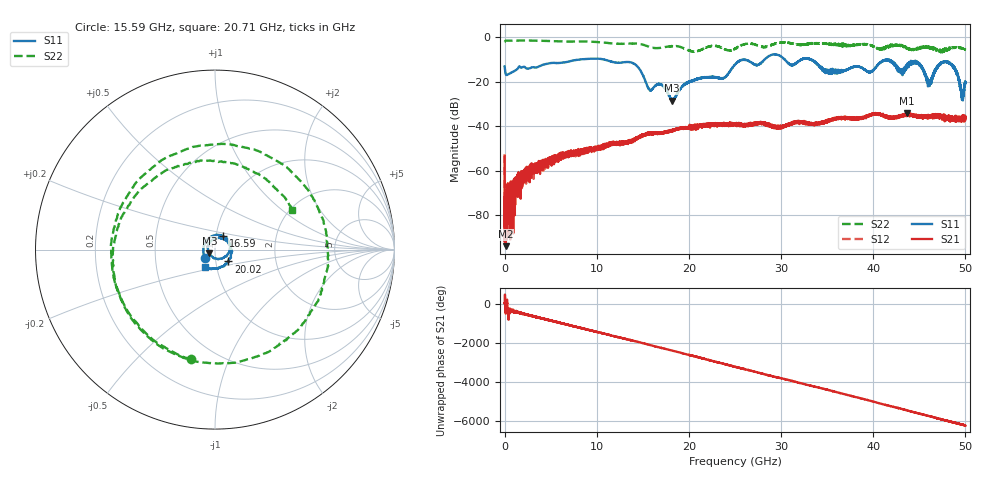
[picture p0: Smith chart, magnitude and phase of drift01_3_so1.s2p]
!Created with skrf (http://scikit-rf.org).
# Hz S RI R 50.0
!freq ReS11 ImS11 ReS21 ImS21 ReS12 ImS12 ReS22 ImS22
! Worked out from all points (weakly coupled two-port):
!   10001 points, 300 kHz to 50 GHz, reference 50 ohm
!   highest |S21| = -34.12 dB at 43.65 GHz (marker M1); lowest = -94.1 dB at 120.3 MHz (marker M2)
!   lowest |S11| = -28.5 dB at 18.16 GHz (marker M3), VSWR 1.08, Z = 46.9 - j2 ohm
!   |S11| at or under -10 dB: 10.87 GHz to 25.83 GHz (14.97 GHz wide, 81.6 % of centre); 33.27 GHz to 41.42 GHz (8.149 GHz wide, 21.8 % of centre); 41.6 GHz to end of sweep (the widest 3 of 14)
!   |S22| runs from -6.7 to -1.4 dB; largest |S21 - S12| = 0.0039
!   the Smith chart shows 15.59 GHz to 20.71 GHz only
!   S11 on the Smith chart (normalised r, x): 15.59 GHz: 0.89, -0.09; 16.59 GHz: 1.08, +0.16; 20.02 GHz: 1.15, -0.15; 20.71 GHz: 0.87, -0.17
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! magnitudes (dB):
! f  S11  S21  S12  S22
! 300 kHz  -13.1  -53.7  -52.7  -2.1
! 120.3 MHz  -16.6  -94.1  -72.8  -1.5
! 260.3 MHz  -16.9  -78.6  -70.1  -1.4
! 2.61 GHz  -14.0  -61.2  -59.9  -1.4
! 8.335 GHz  -9.9  -52.0  -51.7  -1.8
! 13.88 GHz  -11.5  -46.5  -46.7  -2.7
! 15.59 GHz  -22.9  -43.5  -43.3  -4.1
! 16.59 GHz  -21.2  -42.8  -43.2  -4.8
! 16.67 GHz  -21.0  -43.4  -43.3  -4.8
! 18.16 GHz  -28.5  -42.2  -42.0  -3.9
! 20.02 GHz  -20.1  -39.8  -40.4  -5.9
! 20.71 GHz  -18.8  -40.4  -40.9  -6.3
! 25 GHz  -12.2  -39.4  -39.4  -5.1
! 33.34 GHz  -10.2  -39.1  -38.7  -2.7
! 35.25 GHz  -15.0  -37.5  -37.6  -2.8
! 41.67 GHz  -10.5  -36.0  -36.0  -4.2
! 43.65 GHz  -13.8  -34.1  -34.8  -5.0
! 44.82 GHz  -11.5  -36.0  -35.7  -5.1
! 46.1 GHz  -21.3  -35.8  -35.6  -4.3
! 47.97 GHz  -10.8  -36.0  -36.0  -5.6
! 49.64 GHz  -25.9  -36.8  -35.7  -4.9
! 50 GHz  -20.2  -36.0  -37.3  -5.4
